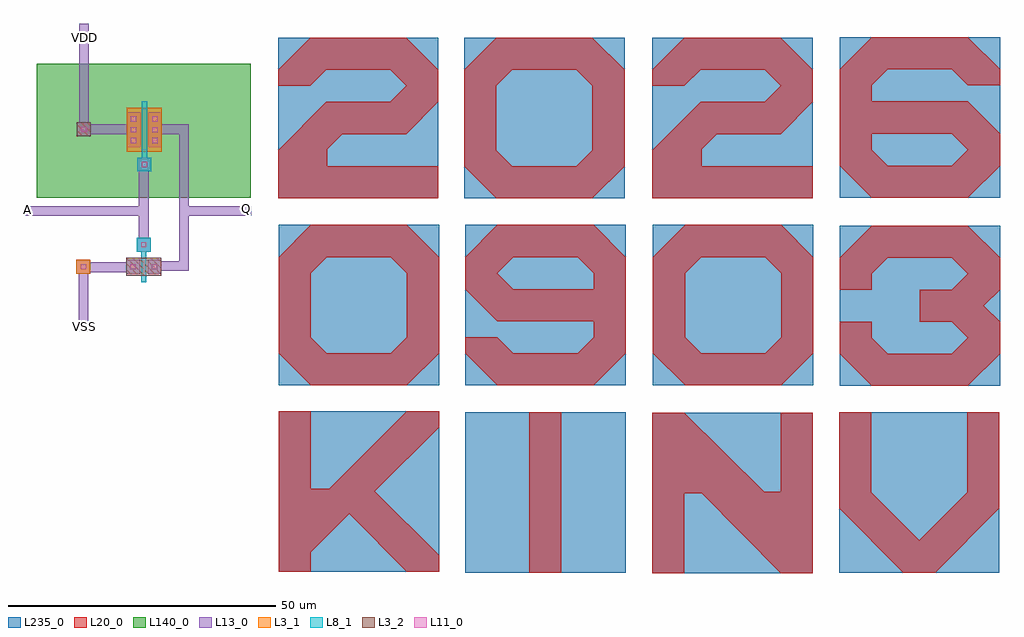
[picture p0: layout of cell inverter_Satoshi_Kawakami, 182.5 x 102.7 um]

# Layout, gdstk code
import gdstk
lib = gdstk.Library(unit=1e-6, precision=1e-07)
def R(c, l, rs):  # rectangles x0, y0, x1, y1
    for r in rs: c.add(gdstk.rectangle(r[:2], r[2:], *l))
def A(c, l, x, y, w, h, nx, ny, dx, dy):  # array of equal rectangles
    R(c, l, [(x+i*dx, y+j*dy, x+i*dx+w, y+j*dy+h) for i in range(nx) for j in range(ny)])
def P(c, l, *ps):  # polygons
    for p in ps: c.add(gdstk.Polygon(p, *l))
L3_1 = (3, 1)
L3_2 = (3, 2)
L8_1 = (8, 1)
L11_0 = (11, 0)
L13_0 = (13, 0)
L20_0 = (20, 0)
L140_0 = (140, 0)
L235_0 = (235, 0)

fet_p = lib.new_cell('fet_p')
R(fet_p, L3_1, [(-3.3,-4.1,3.3,4.1)])
A(fet_p, L11_0, -2.5, -2.5, 1, 1, 1, 3, 0, 2)
A(fet_p, L11_0, 1.5, -2.5, 1, 1, 1, 3, 0, 2)
R(fet_p, L13_0, [(-3.3,-3.3,-0.7,3.3), (0.7,-3.3,3.3,3.3)])
fet_p.add(gdstk.FlexPath([(0,-5.3),(0,5.3)], 1, ends="flush", simple_path=True, layer=8, datatype=1))  # L8_1

cont_g = lib.new_cell('cont_g')
R(cont_g, L8_1, [(-1.3,-1.3,1.3,1.3)])
R(cont_g, L11_0, [(-0.5,-0.5,0.5,0.5)])
R(cont_g, L13_0, [(-1.3,-1.3,1.3,1.3)])

cont_n = lib.new_cell('cont_n')
R(cont_n, L3_2, [(-1.3,-1.3,1.3,1.3)])
R(cont_n, L11_0, [(-0.5,-0.5,0.5,0.5)])
R(cont_n, L13_0, [(-1.3,-1.3,1.3,1.3)])

fet_n = lib.new_cell('fet_n')
R(fet_n, L3_2, [(-3.3,-1.7,3.3,1.7)])
R(fet_n, L11_0, [(-2.5,-0.5,-1.5,0.5), (1.5,-0.5,2.5,0.5)])
R(fet_n, L13_0, [(-3.3,-1.3,-0.7,1.3), (0.7,-1.3,3.3,1.3)])
fet_n.add(gdstk.FlexPath([(0,-2.9),(0,2.9)], 1, ends="flush", simple_path=True, layer=8, datatype=1))  # L8_1

cont_p = lib.new_cell('cont_p')
R(cont_p, L3_1, [(-1.3,-1.3,1.3,1.3)])
R(cont_p, L11_0, [(-0.5,-0.5,0.5,0.5)])
R(cont_p, L13_0, [(-1.3,-1.3,1.3,1.3)])

c_2 = lib.new_cell('2')
P(c_2, L20_0, [(0,0),(0,9),(9,18),(21,18),(24,21),(21,24),(9,24),(6,21),(0,21),(0,24),(6,30),(24,30),(30,24),(30,18),(24,12),(12,12),(9.2,9.2),(9.2,6),(30,6),(30,0)])
R(c_2, L235_0, [(0,0,30,30)])

c_0 = lib.new_cell('0')
P(c_0, L20_0, [(6,0),(0,6),(0,24),(6,30),(24,30),(30,24),(30,6),(24,0),(9,0),(9,6),(21,6),(24,9),(24,21),(21,24),(9,24),(6,21),(6,9),(9,6),(9,0)])
R(c_0, L235_0, [(0,0,30,30)])

c_6 = lib.new_cell('6')
P(c_6, L20_0, [(6,0),(0,6),(0,24),(6,30),(24,30),(30,24),(30,21),(24,21),(21,24),(9,24),(6,21),(6,9),(9,6),(21,6),(24,9),(21,12),(6,12),(6,18),(24,18),(30,12),(30,6),(24,0)])
R(c_6, L235_0, [(0,0,30,30)])

c_9 = lib.new_cell('9')
P(c_9, L20_0, [(6,0),(0,6),(0,9),(6,9),(9,6),(21,6),(24,9),(24,21),(21,24),(9,24),(6,21),(9,18),(24,18),(24,12),(6,12),(0,18),(0,24),(6,30),(24,30),(30,24),(30,6),(24,0)])
R(c_9, L235_0, [(0,0,30,30)])

c_3 = lib.new_cell('3')
P(c_3, L20_0, [(6,0),(0,6),(0,12),(6,12),(6,9),(9,6),(21,6),(24,9),(21,12),(15,12),(15,18),(21,18),(24,21),(21,24),(9,24),(6,21),(6,18),(0,18),(0,24),(6,30),(24,30),(30,24),(30,18),(27,15),(30,12),(30,6),(24,0)])
R(c_3, L235_0, [(0,0,30,30)])

c_k = lib.new_cell('K')
P(c_k, L20_0, [(0,0),(0,30),(6,30),(6,15.5),(9.5,15.5),(24,30),(30,30),(30,27),(18,15),(30,3),(30,0),(24,0),(13.2,10.8),(6,3.6),(6,0)])
R(c_k, L235_0, [(0,0,30,30)])

c_i = lib.new_cell('I')
R(c_i, L20_0, [(12,0,18,30)])
R(c_i, L235_0, [(0,0,30,30)])

c_n = lib.new_cell('N')
P(c_n, L20_0, [(0,0),(0,30),(6,30),(20.9,15.2),(24,15.2),(24,30),(30,30),(30,0),(24,0),(9.2,14.9),(6,14.9),(6,0)])
R(c_n, L235_0, [(0,0,30,30)])

c_v = lib.new_cell('V')
P(c_v, L20_0, [(12,0),(0,12),(0,30),(6,30),(6,15),(15,6),(24,15),(24,30),(30,30),(30,12),(18,0)])
R(c_v, L235_0, [(0,0,30,30)])

inverter_satoshi_kawakam = lib.new_cell('inverter_Satoshi_Kawakami')
P(inverter_satoshi_kawakam, L140_0, [(-15,0),(-15,25),(4.9,25),(25,25),(25,0)])
inverter_satoshi_kawakam.add(gdstk.FlexPath([(3.1,12.8),(-6.2,12.8),(-6.2,32.5)], 1.8, ends="flush", simple_path=True, layer=13, datatype=0))  # L13_0
inverter_satoshi_kawakam.add(gdstk.FlexPath([(3,-13),(-6.3,-13),(-6.3,-25)], 1.8, ends="flush", simple_path=True, layer=13, datatype=0))  # L13_0
inverter_satoshi_kawakam.add(gdstk.FlexPath([(5,6.3),(5,-8.9)], 1.8, ends="flush", simple_path=True, layer=13, datatype=0))  # L13_0
inverter_satoshi_kawakam.add(gdstk.FlexPath([(5.1,-2.5),(-17.4,-2.5)], 1.8, ends="flush", simple_path=True, layer=13, datatype=0))  # L13_0
inverter_satoshi_kawakam.add(gdstk.FlexPath([(7,-12.8),(12.5,-12.8),(12.5,12.8),(7.1,12.8)], 1.8, ends="flush", simple_path=True, layer=13, datatype=0))  # L13_0
inverter_satoshi_kawakam.add(gdstk.FlexPath([(12.6,-2.5),(25.1,-2.5)], 1.8, ends="flush", simple_path=True, layer=13, datatype=0))  # L13_0
inverter_satoshi_kawakam.add(gdstk.Reference(fet_p, (5.1,12.7)))
inverter_satoshi_kawakam.add(gdstk.Reference(cont_g, (5.1,6.2)))
inverter_satoshi_kawakam.add(gdstk.Reference(cont_n, (-6.2,12.8)))
inverter_satoshi_kawakam.add(gdstk.Reference(fet_n, (5,-12.9)))
inverter_satoshi_kawakam.add(gdstk.Reference(cont_g, (5,-8.8)))
inverter_satoshi_kawakam.add(gdstk.Reference(cont_p, (-6.3,-12.9)))
inverter_satoshi_kawakam.add(gdstk.Reference(c_2, (100.1,-0.1)))
inverter_satoshi_kawakam.add(gdstk.Reference(c_0, (64.9,-0.1)))
inverter_satoshi_kawakam.add(gdstk.Reference(c_6, (135.1,0)))
inverter_satoshi_kawakam.add(gdstk.Reference(c_0, (30.2,-35.1)))
inverter_satoshi_kawakam.add(gdstk.Reference(c_0, (100.2,-35.1)))
inverter_satoshi_kawakam.add(gdstk.Reference(c_9, (65.1,-35.1)))
inverter_satoshi_kawakam.add(gdstk.Reference(c_3, (135.1,-35.2)))
inverter_satoshi_kawakam.add(gdstk.Reference(c_k, (30.2,-69.9)))
inverter_satoshi_kawakam.add(gdstk.Reference(c_i, (65.1,-70.1)))
inverter_satoshi_kawakam.add(gdstk.Reference(c_n, (100.1,-70.2)))
inverter_satoshi_kawakam.add(gdstk.Reference(c_v, (135,-70.1)))
inverter_satoshi_kawakam.add(gdstk.Reference(c_2, (30.1,-0.1)))
inverter_satoshi_kawakam.add(gdstk.Label('VSS', (-6.1,-24), layer=48, texttype=0))
inverter_satoshi_kawakam.add(gdstk.Label('VDD', (-6.1,29.9), layer=48, texttype=0))
inverter_satoshi_kawakam.add(gdstk.Label('Q', (24.2,-2.1), layer=48, texttype=0))
inverter_satoshi_kawakam.add(gdstk.Label('A', (-16.7,-2.2), layer=48, texttype=0))

lib.write_gds('inverter_Satoshi_Kawakami.gds')
